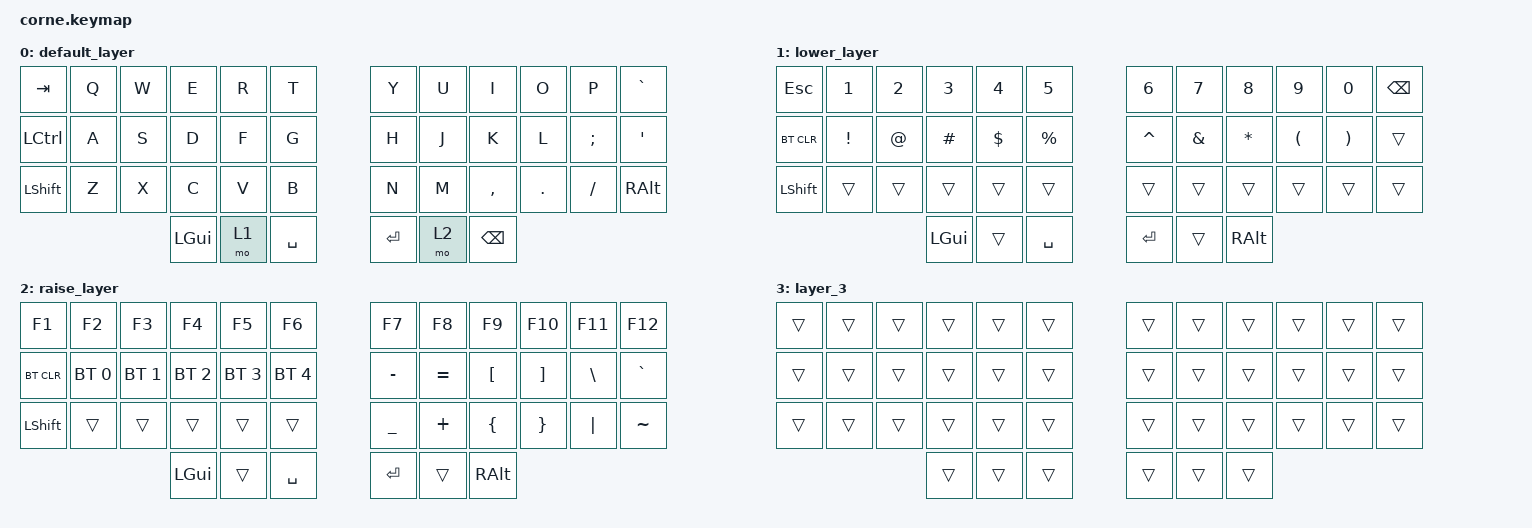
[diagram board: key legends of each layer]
/*
 * Copyright (c) 2020 The ZMK Contributors
 *
 * SPDX-License-Identifier: MIT
 */

#include <behaviors.dtsi>
#include <dt-bindings/zmk/bt.h>
#include <dt-bindings/zmk/keys.h>

/ {
    keymap {
        compatible = "zmk,keymap";

        default_layer {
            // -----------------------------------------------------------------------------------------
            // |  TAB |  Q  |  W  |  E  |  R  |  T  |   |  Y  |  U   |  I  |  O  |  P  | BKSP |
            // | CTRL |  A  |  S  |  D  |  F  |  G  |   |  H  |  J   |  K  |  L  |  ;  |  '   |
            // | SHFT |  Z  |  X  |  C  |  V  |  B  |   |  N  |  M   |  ,  |  .  |  /  | ESC  |
            //                    | GUI | LWR | SPC |   | ENT | RSE  | ALT |

            bindings = <
&kp TAB    &kp Q  &kp W  &kp E     &kp R  &kp T        &kp Y    &kp U  &kp I          &kp O    &kp P     &kp GRAVE
&kp LCTRL  &kp A  &kp S  &kp D     &kp F  &kp G        &kp H    &kp J  &kp K          &kp L    &kp SEMI  &kp SQT
&kp LSHFT  &kp Z  &kp X  &kp C     &kp V  &kp B        &kp N    &kp M  &kp COMMA      &kp DOT  &kp FSLH  &kp RIGHT_ALT
                         &kp LGUI  &mo 1  &kp SPACE    &kp RET  &mo 2  &kp BACKSPACE
            >;
        };

        lower_layer {
            // -----------------------------------------------------------------------------------------
            // |  TAB |  1  |  2  |  3  |  4  |  5  |   |  6  |  7  |  8  |  9  |  0  | BKSP |
            // | BTCLR| BT1 | BT2 | BT3 | BT4 | BT5 |   | LFT | DWN |  UP | RGT |     |      |
            // | SHFT |     |     |     |     |     |   |     |     |     |     |     |      |
            //                    | GUI |     | SPC |   | ENT |     | ALT |

            bindings = <
&kp ESCAPE  &kp N1           &kp N2       &kp N3    &kp N4      &kp N5         &kp N6     &kp N7         &kp N8        &kp N9                &kp N0                 &kp BSPC
&bt BT_CLR  &kp EXCLAMATION  &kp AT_SIGN  &kp HASH  &kp DOLLAR  &kp PERCENT    &kp CARET  &kp AMPERSAND  &kp ASTERISK  &kp LEFT_PARENTHESIS  &kp RIGHT_PARENTHESIS  &trans
&kp LSHFT   &trans           &trans       &trans    &trans      &trans         &trans     &trans         &trans        &trans                &trans                 &trans
                                          &kp LGUI  &trans      &kp SPACE      &kp RET    &trans         &kp RALT
            >;
        };

        raise_layer {
            // -----------------------------------------------------------------------------------------
            // |  TAB |  !  |  @  |  #  |  $  |  %  |   |  ^  |  &  |  *  |  (  |  )  | BKSP |
            // | CTRL |     |     |     |     |     |   |  -  |  =  |  [  |  ]  |  \  |  `   |
            // | SHFT |     |     |     |     |     |   |  _  |  +  |  {  |  }  | "|" |  ~   |
            //                    | GUI |     | SPC |   | ENT |     | ALT |

            bindings = <
&kp F1      &kp F2        &kp F3        &kp F4        &kp F5        &kp F6          &kp F7     &kp F8     &kp F9    &kp F10   &kp F11   &kp F12
&bt BT_CLR  &bt BT_SEL 0  &bt BT_SEL 1  &bt BT_SEL 2  &bt BT_SEL 3  &bt BT_SEL 4    &kp MINUS  &kp EQUAL  &kp LBKT  &kp RBKT  &kp BSLH  &kp GRAVE
&kp LSHFT   &trans        &trans        &trans        &trans        &trans          &kp UNDER  &kp PLUS   &kp LBRC  &kp RBRC  &kp PIPE  &kp TILDE
                                        &kp LGUI      &trans        &kp SPACE       &kp RET    &trans     &kp RALT
            >;
        };

        layer_3 {
            bindings = <
&trans  &trans  &trans  &trans  &trans  &trans    &trans  &trans  &trans  &trans  &trans  &trans
&trans  &trans  &trans  &trans  &trans  &trans    &trans  &trans  &trans  &trans  &trans  &trans
&trans  &trans  &trans  &trans  &trans  &trans    &trans  &trans  &trans  &trans  &trans  &trans
                        &trans  &trans  &trans    &trans  &trans  &trans
            >;
        };
    };
};
